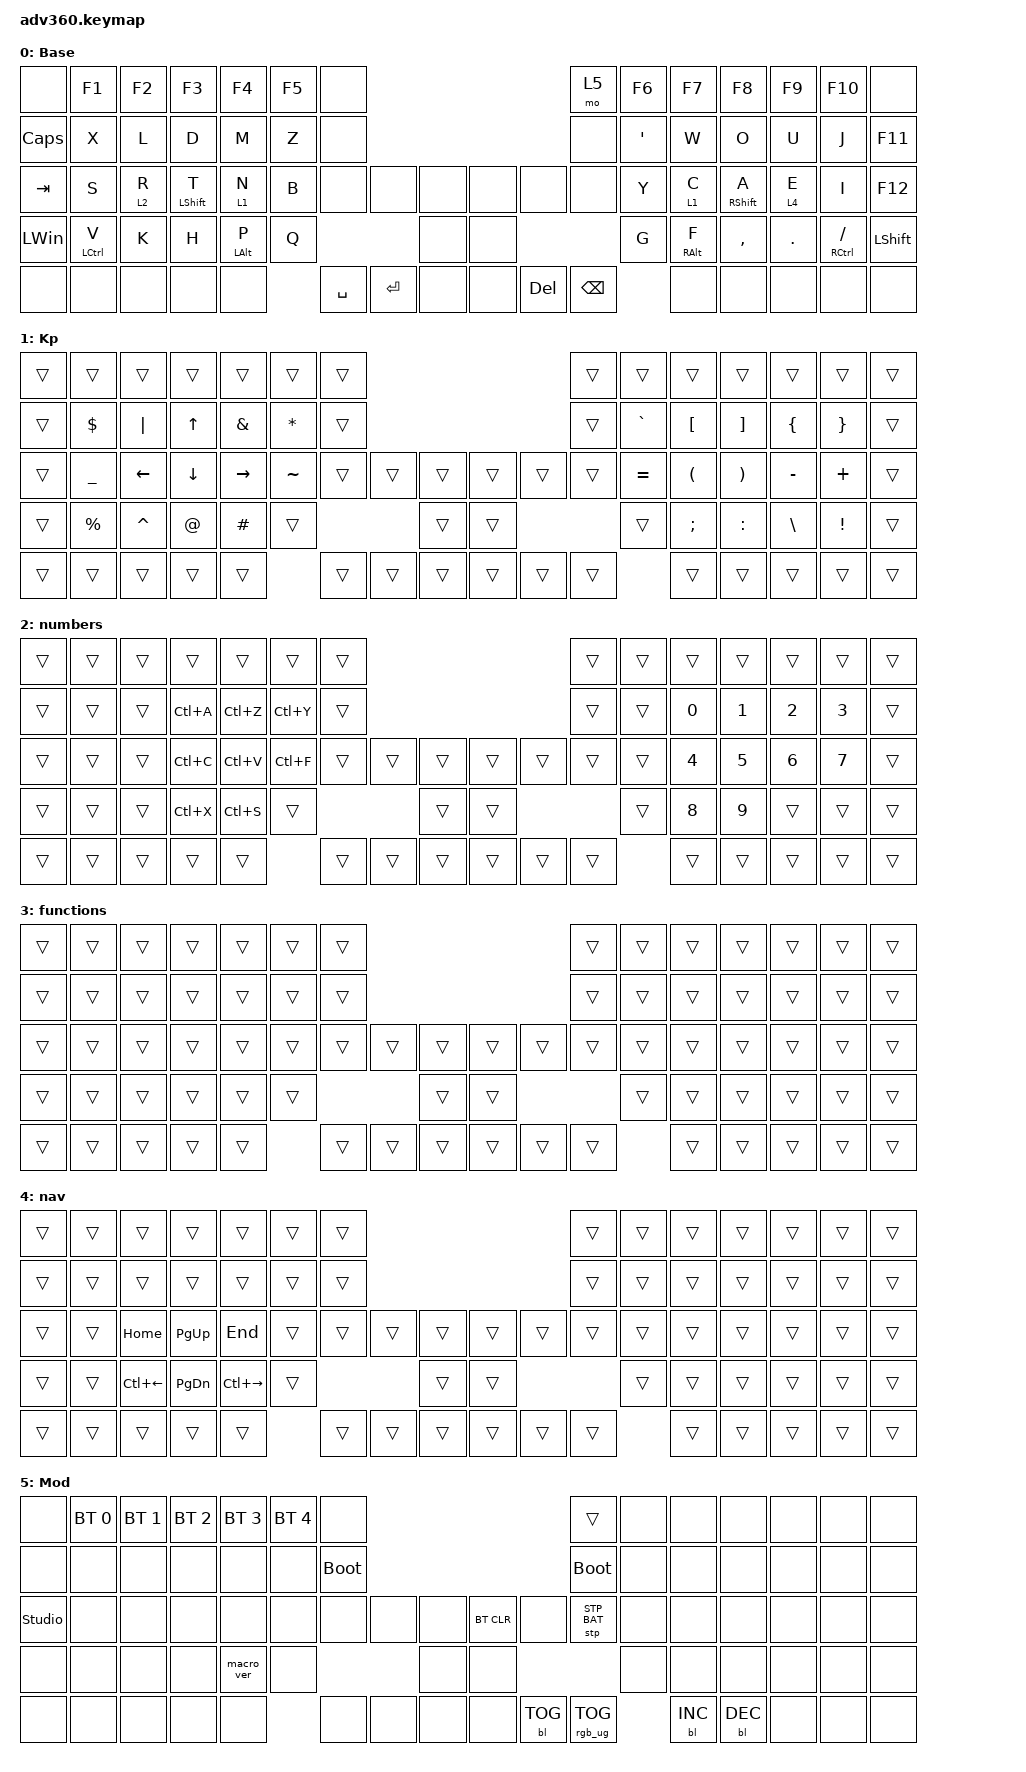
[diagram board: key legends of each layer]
#include <dt-bindings/zmk/stp.h>
#include <behaviors.dtsi>
#include <dt-bindings/zmk/backlight.h>
#include <dt-bindings/zmk/bt.h>
#include <dt-bindings/zmk/keys.h>
#include <dt-bindings/zmk/rgb.h>

/ {
    behaviors {
        #include "macros.dtsi"
      #include "version.dtsi"

        hmShiftL: hmShiftL {
            compatible = "zmk,behavior-hold-tap";
            label = "HMSHIFTL";
            #binding-cells = <2>;
            tapping-term-ms = <280>;
            flavor = "balanced";
            bindings = <&kp>, <&kp>;

            quick-tap-ms = <175>;
            hold-trigger-on-release;
            hold-trigger-key-positions = <7 8 9 10 11 12 13 21 22 23 24 25 26 27 38 39 40 41 42 43 44 45 54 55 56 57 58 59 69 70 71 72 73 74 75 37 53 68 0 14 28 46 60 35 36 52 65 66 67>;
        };

        hml: hml {
            compatible = "zmk,behavior-hold-tap";
            label = "HML";
            #binding-cells = <2>;
            tapping-term-ms = <125>;
            bindings = <&mo>, <&kp>;

            flavor = "tap-preferred";
        };

        hmdelayed: hmdelayed {
            compatible = "zmk,behavior-hold-tap";
            label = "HMDELAYED";
            bindings = <&kp>, <&kp>;

            #binding-cells = <2>;
            tapping-term-ms = <200>;
            flavor = "tap-preferred";
        };

        hmShiftR: hmShiftR {
            compatible = "zmk,behavior-hold-tap";
            label = "HMSHIFTR";
            #binding-cells = <2>;
            tapping-term-ms = <280>;
            flavor = "balanced";
            bindings = <&kp>, <&kp>;

            quick-tap-ms = <175>;
            hold-trigger-on-release;
            hold-trigger-key-positions = <0 1 2 3 4 5 6 14 15 16 17 18 19 20 28 29 30 31 32 33 34 35 36 46 47 48 49 50 51 52 60 61 62 63 64 65 66 67 75 27 45 59 75 13 37 38 53 68 69 70>;
        };
    };

    combos {
        compatible = "zmk,combos";

        escape {
            bindings = <&kp ESCAPE>;
            key-positions = <31 32>;
        };

        screenshot {
            bindings = <&kp PRINTSCREEN>;
            key-positions = <29 30 31 32>;
        };
    };

    keymap {
        compatible = "zmk,keymap";

        default_layer {
            display-name = "Base";
            bindings = <
&none         &kp F1                     &kp F2    &kp F3                  &kp F4                 &kp F5  &none                                               &mo 5          &kp F6   &kp F7                  &kp F8                   &kp F9    &kp F10                         &none
&kp CAPSLOCK  &kp X                      &kp L     &kp D                   &kp M                  &kp Z   &none                                               &none          &kp SQT  &kp W                   &kp O                    &kp U     &kp J                           &kp F11
&kp TAB       &kp S                      &hml 2 R  &hmShiftL LEFT_SHIFT T  &hml 1 N               &kp B   &none      &none      &none      &none  &none       &none          &kp Y    &hml 1 C                &hmShiftR RIGHT_SHIFT A  &hml 4 E  &kp I                           &kp F12
&kp LEFT_WIN  &hmdelayed LEFT_CONTROL V  &kp K     &kp H                   &hmdelayed LEFT_ALT P  &kp Q                         &none      &none                             &kp G    &hmdelayed RIGHT_ALT F  &kp COMMA                &kp DOT   &hmdelayed RIGHT_CONTROL SLASH  &kp LEFT_SHIFT
&none         &none                      &none     &none                   &none                          &kp SPACE  &kp ENTER  &none      &none  &kp DELETE  &kp BACKSPACE           &none                   &none                    &none     &none                           &none
            >;
        };

        programmingRight {
            display-name = "Kp";
            bindings = <
&trans  &trans       &trans          &trans          &trans           &trans     &trans                                      &trans  &trans     &trans                &trans                 &trans          &trans           &trans
&trans  &kp DOLLAR   &kp PIPE        &kp UP_ARROW    &kp AMPERSAND    &kp STAR   &trans                                      &trans  &kp GRAVE  &kp LEFT_BRACKET      &kp RIGHT_BRACKET      &kp LEFT_BRACE  &kp RIGHT_BRACE  &trans
&trans  &kp UNDER    &kp LEFT_ARROW  &kp DOWN_ARROW  &kp RIGHT_ARROW  &kp TILDE  &trans  &trans  &trans      &trans  &trans  &trans  &kp EQUAL  &kp LEFT_PARENTHESIS  &kp RIGHT_PARENTHESIS  &kp MINUS       &kp PLUS         &trans
&trans  &kp PERCENT  &kp CARET       &kp AT          &kp HASH         &trans                     &trans      &trans                  &trans     &kp SEMI              &kp COLON              &kp BACKSLASH   &kp EXCL         &trans
&trans  &trans       &trans          &trans          &trans                      &trans  &trans  &trans      &trans  &trans  &trans             &trans                &trans                 &trans          &trans           &trans
            >;
        };

        numbers {
            bindings = <
&trans  &trans  &trans  &trans     &trans     &trans     &trans                                      &trans  &trans  &trans        &trans        &trans        &trans        &trans
&trans  &trans  &trans  &kp LC(A)  &kp LC(Z)  &kp LC(Y)  &trans                                      &trans  &trans  &kp N0        &kp NUMBER_1  &kp NUMBER_2  &kp NUMBER_3  &trans
&trans  &trans  &trans  &kp LC(C)  &kp LC(V)  &kp LC(F)  &trans  &trans  &trans      &trans  &trans  &trans  &trans  &kp NUMBER_4  &kp N5        &kp NUMBER_6  &kp N7        &trans
&trans  &trans  &trans  &kp LC(X)  &kp LC(S)  &trans                     &trans      &trans                  &trans  &kp N8        &kp N9        &trans        &trans        &trans
&trans  &trans  &trans  &trans     &trans                &trans  &trans  &trans      &trans  &trans  &trans          &trans        &trans        &trans        &trans        &trans
            >;
        };

        functions {
            bindings = <
&trans  &trans  &trans  &trans  &trans  &trans  &trans                                      &trans  &trans  &trans  &trans  &trans  &trans  &trans
&trans  &trans  &trans  &trans  &trans  &trans  &trans                                      &trans  &trans  &trans  &trans  &trans  &trans  &trans
&trans  &trans  &trans  &trans  &trans  &trans  &trans  &trans  &trans      &trans  &trans  &trans  &trans  &trans  &trans  &trans  &trans  &trans
&trans  &trans  &trans  &trans  &trans  &trans                  &trans      &trans                  &trans  &trans  &trans  &trans  &trans  &trans
&trans  &trans  &trans  &trans  &trans          &trans  &trans  &trans      &trans  &trans  &trans          &trans  &trans  &trans  &trans  &trans
            >;
        };

        nav {
            bindings = <
&trans  &trans  &trans              &trans         &trans               &trans  &trans                                      &trans  &trans  &trans  &trans  &trans  &trans  &trans
&trans  &trans  &trans              &trans         &trans               &trans  &trans                                      &trans  &trans  &trans  &trans  &trans  &trans  &trans
&trans  &trans  &kp HOME            &kp PG_UP      &kp END              &trans  &trans  &trans  &trans      &trans  &trans  &trans  &trans  &trans  &trans  &trans  &trans  &trans
&trans  &trans  &kp LC(LEFT_ARROW)  &kp PAGE_DOWN  &kp LC(RIGHT_ARROW)  &trans                  &trans      &trans                  &trans  &trans  &trans  &trans  &trans  &trans
&trans  &trans  &trans              &trans         &trans                       &trans  &trans  &trans      &trans  &trans  &trans          &trans  &trans  &trans  &trans  &trans
            >;
        };

        mod {
            display-name = "Mod";
            bindings = <
&none           &bt BT_SEL 0  &bt BT_SEL 1  &bt BT_SEL 2  &bt BT_SEL 3  &bt BT_SEL 4  &none                                                  &trans           &none  &none       &none       &none  &none  &none
&none           &none         &none         &none         &none         &none         &bootloader                                            &bootloader      &none  &none       &none       &none  &none  &none
&studio_unlock  &none         &none         &none         &none         &none         &none        &none  &none      &bt BT_CLR  &none       &stp STP_BAT     &none  &none       &none       &none  &none  &none
&none           &none         &none         &none         &macro_ver    &none                             &none      &none                                    &none  &none       &none       &none  &none  &none
&none           &none         &none         &none         &none                       &none        &none  &none      &none       &bl BL_TOG  &rgb_ug RGB_TOG         &bl BL_INC  &bl BL_DEC  &none  &none  &none
            >;
        };
    };
};
